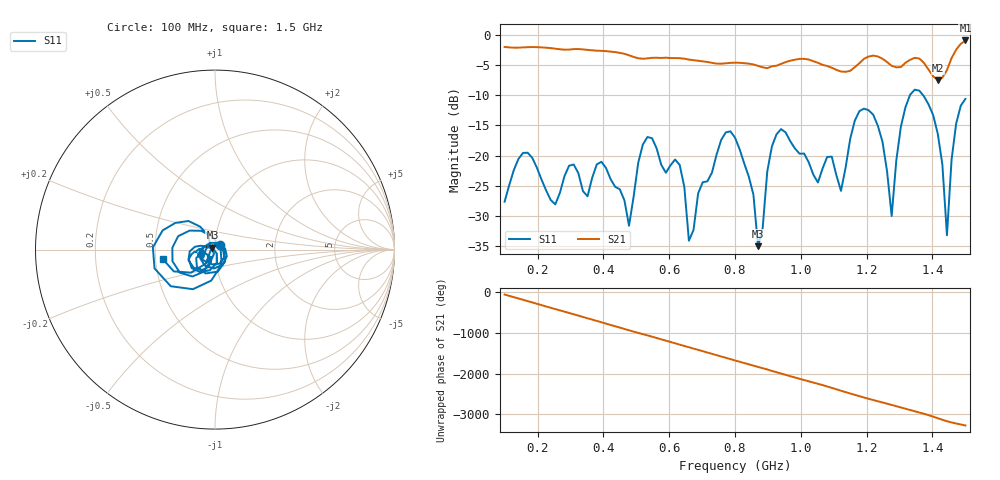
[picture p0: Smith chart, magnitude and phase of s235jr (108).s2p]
! NanoVNA-App
! Date: 2025-09-26 09:45:37
! Start: 100MHz Stop: 1,5GHz Points: 101
! S-Parameter data: F S11 S21 S12 S22
# Hz S RI R 50
!  Frequency  S11_Real  S11_Imag  S21_Real  S21_Imag  S12_Real  S12_Imag  S22_Real  S22_Imag
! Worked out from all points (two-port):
!   101 points, 100 MHz to 1.5 GHz, reference 50 ohm
!   highest |S21| = -0.88 dB at 1.5 GHz (marker M1); lowest = -7.5 dB at 1.416 GHz (marker M2)
!   |S21| within 3 dB of the highest: start of sweep to 513.4 MHz; 528.8 MHz to 641.1 MHz (112.2 MHz wide, 19.2 % of centre)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
!   lowest |S11| = -35.0 dB at 870 MHz (marker M3), VSWR 1.04, Z = 48.6 + j0.981 ohm
!   |S11| at or under -10 dB: start of sweep to 1.331 GHz; 1.372 GHz to end of sweep
!   S12 and S22 are empty: the file has one direction only
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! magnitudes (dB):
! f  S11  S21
! 100 MHz  -27.6  -2.0
! 156 MHz  -19.5  -2.0
! 338 MHz  -25.9  -2.4
! 394 MHz  -21.0  -2.6
! 478 MHz  -31.6  -3.3
! 520 MHz  -18.2  -3.9
! 576 MHz  -21.5  -3.8
! 632 MHz  -21.6  -3.8
! 660 MHz  -34.1  -4.1
! 800 MHz  -17.0  -4.6
! 870 MHz  -35.0  -5.1
! 926 MHz  -16.5  -5.1
! 1.038 GHz  -23.2  -4.3
! 1.122 GHz  -25.9  -6.0
! 1.206 GHz  -12.5  -3.5
! 1.248 GHz  -17.7  -3.9
! 1.276 GHz  -30.0  -5.1
! 1.332 GHz  -9.9  -4.1
! 1.416 GHz  -16.4  -7.5
! 1.444 GHz  -33.2  -5.8
! 1.472 GHz  -14.7  -2.4
! 1.5 GHz  -10.6  -0.9
